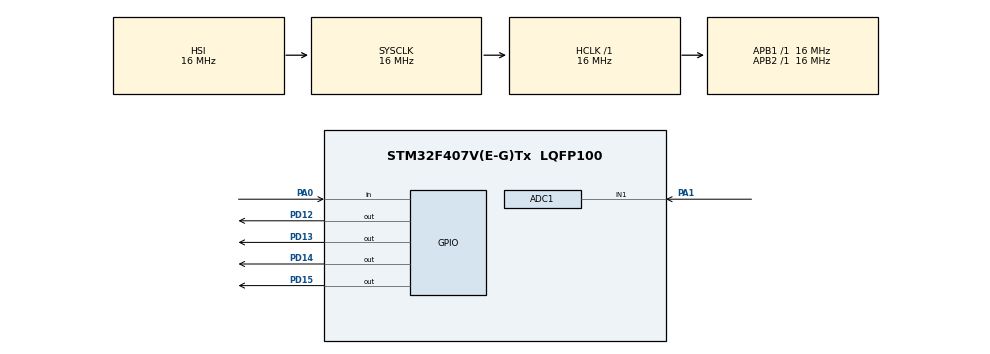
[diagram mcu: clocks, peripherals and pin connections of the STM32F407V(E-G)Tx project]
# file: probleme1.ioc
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ADC1.Channel-0\#ChannelRegularConversion=ADC_CHANNEL_1
ADC1.NbrOfConversionFlag=1
ADC1.Rank-0\#ChannelRegularConversion=1
ADC1.SamplingTime-0\#ChannelRegularConversion=ADC_SAMPLETIME_3CYCLES
ADC1.master=1
Mcu.Family=STM32F4
Mcu.Name=STM32F407V(E-G)Tx
Mcu.Package=LQFP100
NVIC.PriorityGroup=NVIC_PRIORITYGROUP_4
PA0-WKUP.Signal=GPIO_Input
PA1.Signal=ADCx_IN1
PD12.Signal=GPIO_Output
PD13.Signal=GPIO_Output
PD14.Signal=GPIO_Output
PD15.Signal=GPIO_Output
ProjectManager.HeapSize=0x200
ProjectManager.StackSize=0x400
ProjectManager.TargetToolchain=STM32CubeIDE
RCC.AHBFreq_Value=16000000
RCC.APB1Freq_Value=16000000
RCC.APB2Freq_Value=16000000
RCC.CortexFreq_Value=16000000
RCC.HSE_VALUE=25000000
RCC.HSI_VALUE=16000000
RCC.LSE_VALUE=32768
RCC.SYSCLKFreq_VALUE=16000000
RCC.VCOOutputFreq_Value=192000000
SH.ADCx_IN1.0=ADC1_IN1,IN1
board=custom

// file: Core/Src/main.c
/* USER CODE BEGIN Header */
/**
  ******************************************************************************
  * @file           : main.c
  * @brief          : Main program body
  ******************************************************************************
  * @attention
  *
  * Copyright (c) 2024 STMicroelectronics.
  * All rights reserved.
  *
  * This software is licensed under terms that can be found in the LICENSE file
  * in the root directory of this software component.
  * If no LICENSE file comes with this software, it is provided AS-IS.
  *
  ******************************************************************************
  */
/* USER CODE END Header */
#include "main.h"

ADC_HandleTypeDef hadc1;

void SystemClock_Config(void);
static void MX_GPIO_Init(void);
static void MX_ADC1_Init(void);
uint32_t potValue = 0;

int main(void)
{

  /* MCU Configuration--------------------------------------------------------*/

  /* Reset of all peripherals, Initializes the Flash interface and the Systick. */
  HAL_Init();

  /* Configure the system clock */
  SystemClock_Config();

  /* Initialize all configured peripherals */
  MX_GPIO_Init();
  MX_ADC1_Init();

  /* Infinite loop */
  /* USER CODE BEGIN WHILE */
  while (1)
  {	while (HAL_GPIO_ReadPin(GPIOA, GPIO_PIN_0) == 0);

    /* USER CODE END WHILE */

    /* USER CODE BEGIN 3 */
	    /* Démarre une conversion ADC */
	    if (HAL_ADC_Start(&hadc1) == HAL_OK)
	    {
	      /* Attente de la fin de la conversion */
	      if (HAL_ADC_PollForConversion(&hadc1, HAL_MAX_DELAY) == HAL_OK)
	      {
	        /* Lecture de la valeur du potentiomètre */
	        potValue = HAL_ADC_GetValue(&hadc1);

	        /* Conversion de la valeur du potentiomètre (0-65520) à une valeur PWM (0-255) */
	        uint32_t dutyCycle = (potValue * 65520) / 4095;

	        /* Mise à jour de l'intensité du LED sur PD12 */
	       // TIM1->CCR1 = dutyCycle;

	        //chaque led un seuil
	        if(dutyCycle<16380)
	        {HAL_GPIO_WritePin(GPIOD, GPIO_PIN_15, RESET);}
	  	  if(dutyCycle>=16380)
	  	    { HAL_GPIO_WritePin(GPIOD, GPIO_PIN_15, SET);
	  		  HAL_GPIO_WritePin(GPIOD, GPIO_PIN_14, RESET);
	  		  HAL_GPIO_WritePin(GPIOD, GPIO_PIN_13, RESET);
	  		  HAL_GPIO_WritePin(GPIOD, GPIO_PIN_12, RESET);
	  	    }

	  	if(dutyCycle>=32760)
	  	  	    { HAL_GPIO_WritePin(GPIOD, GPIO_PIN_15, SET);
	  	  		  HAL_GPIO_WritePin(GPIOD, GPIO_PIN_14, SET);
	  	  		  HAL_GPIO_WritePin(GPIOD, GPIO_PIN_13, RESET);
	  	  		  HAL_GPIO_WritePin(GPIOD, GPIO_PIN_12, RESET);
	  	  	    }

	  	if(dutyCycle>=49140)
	  	  	  	    { HAL_GPIO_WritePin(GPIOD, GPIO_PIN_15, SET);
	  	  	  		  HAL_GPIO_WritePin(GPIOD, GPIO_PIN_14, SET);
	  	  	  		  HAL_GPIO_WritePin(GPIOD, GPIO_PIN_13, SET);
	  	  	  		  HAL_GPIO_WritePin(GPIOD, GPIO_PIN_12, RESET);
	  	  	  	    }

	  	if(dutyCycle>=65520)
	  	  	  	    { HAL_GPIO_WritePin(GPIOD, GPIO_PIN_15, SET);
	  	  	  		  HAL_GPIO_WritePin(GPIOD, GPIO_PIN_14, SET);
	  	  	  		  HAL_GPIO_WritePin(GPIOD, GPIO_PIN_13, SET);
	  	  	  		  HAL_GPIO_WritePin(GPIOD, GPIO_PIN_12, SET);
	  	  	  	    }
	      }
	    }
	  }
	}

  /* USER CODE END 3 */

void SystemClock_Config(void)
{
  RCC_OscInitTypeDef RCC_OscInitStruct = {0};
  RCC_ClkInitTypeDef RCC_ClkInitStruct = {0};

  /** Configure the main internal regulator output voltage
  */
  __HAL_RCC_PWR_CLK_ENABLE();
  __HAL_PWR_VOLTAGESCALING_CONFIG(PWR_REGULATOR_VOLTAGE_SCALE1);

  /** Initializes the RCC Oscillators according to the specified parameters
  * in the RCC_OscInitTypeDef structure.
  */
  RCC_OscInitStruct.OscillatorType = RCC_OSCILLATORTYPE_HSI;
  RCC_OscInitStruct.HSIState = RCC_HSI_ON;
  RCC_OscInitStruct.HSICalibrationValue = RCC_HSICALIBRATION_DEFAULT;
  RCC_OscInitStruct.PLL.PLLState = RCC_PLL_NONE;
  if (HAL_RCC_OscConfig(&RCC_OscInitStruct) != HAL_OK)
  {
    Error_Handler();
  }

  /** Initializes the CPU, AHB and APB buses clocks
  */
  RCC_ClkInitStruct.ClockType = RCC_CLOCKTYPE_HCLK|RCC_CLOCKTYPE_SYSCLK
                              |RCC_CLOCKTYPE_PCLK1|RCC_CLOCKTYPE_PCLK2;
  RCC_ClkInitStruct.SYSCLKSource = RCC_SYSCLKSOURCE_HSI;
  RCC_ClkInitStruct.AHBCLKDivider = RCC_SYSCLK_DIV1;
  RCC_ClkInitStruct.APB1CLKDivider = RCC_HCLK_DIV1;
  RCC_ClkInitStruct.APB2CLKDivider = RCC_HCLK_DIV1;

  if (HAL_RCC_ClockConfig(&RCC_ClkInitStruct, FLASH_LATENCY_0) != HAL_OK)
  {
    Error_Handler();
  }
}

static void MX_ADC1_Init(void)
{

  ADC_ChannelConfTypeDef sConfig = {0};

  /** Configure the global features of the ADC (Clock, Resolution, Data Alignment and number of conversion)
  */
  hadc1.Instance = ADC1;
  hadc1.Init.ClockPrescaler = ADC_CLOCK_SYNC_PCLK_DIV2;
  hadc1.Init.Resolution = ADC_RESOLUTION_12B;
  hadc1.Init.ScanConvMode = DISABLE;
  hadc1.Init.ContinuousConvMode = DISABLE;
  hadc1.Init.DiscontinuousConvMode = DISABLE;
  hadc1.Init.ExternalTrigConvEdge = ADC_EXTERNALTRIGCONVEDGE_NONE;
  hadc1.Init.ExternalTrigConv = ADC_SOFTWARE_START;
  hadc1.Init.DataAlign = ADC_DATAALIGN_RIGHT;
  hadc1.Init.NbrOfConversion = 1;
  hadc1.Init.DMAContinuousRequests = DISABLE;
  hadc1.Init.EOCSelection = ADC_EOC_SINGLE_CONV;
  if (HAL_ADC_Init(&hadc1) != HAL_OK)
  {
    Error_Handler();
  }

  /** Configure for the selected ADC regular channel its corresponding rank in the sequencer and its sample time.
  */
  sConfig.Channel = ADC_CHANNEL_1;
  sConfig.Rank = 1;
  sConfig.SamplingTime = ADC_SAMPLETIME_3CYCLES;
  if (HAL_ADC_ConfigChannel(&hadc1, &sConfig) != HAL_OK)
  {
    Error_Handler();
  }

}

static void MX_GPIO_Init(void)
{
  GPIO_InitTypeDef GPIO_InitStruct = {0};

  /* GPIO Ports Clock Enable */
  __HAL_RCC_GPIOA_CLK_ENABLE();
  __HAL_RCC_GPIOD_CLK_ENABLE();

  /*Configure GPIO pin Output Level */
  HAL_GPIO_WritePin(GPIOD, GPIO_PIN_12|GPIO_PIN_13|GPIO_PIN_14|GPIO_PIN_15, GPIO_PIN_RESET);

  /*Configure GPIO pin : PA0 */
  GPIO_InitStruct.Pin = GPIO_PIN_0;
  GPIO_InitStruct.Mode = GPIO_MODE_INPUT;
  GPIO_InitStruct.Pull = GPIO_NOPULL;
  HAL_GPIO_Init(GPIOA, &GPIO_InitStruct);

  /*Configure GPIO pins : PD12 PD13 PD14 PD15 */
  GPIO_InitStruct.Pin = GPIO_PIN_12|GPIO_PIN_13|GPIO_PIN_14|GPIO_PIN_15;
  GPIO_InitStruct.Mode = GPIO_MODE_OUTPUT_PP;
  GPIO_InitStruct.Pull = GPIO_NOPULL;
  GPIO_InitStruct.Speed = GPIO_SPEED_FREQ_LOW;
  HAL_GPIO_Init(GPIOD, &GPIO_InitStruct);

}

void Error_Handler(void)
{
  __disable_irq();
  while (1)
  {
  }
}
